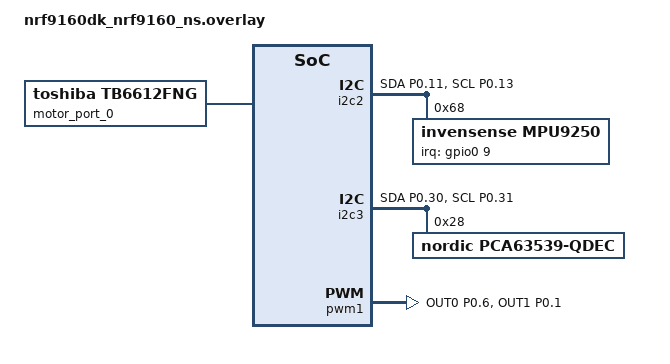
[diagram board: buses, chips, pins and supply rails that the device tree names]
/*
 * Copyright (c) 2022 Nordic Semiconductor ASA
 *
 * SPDX-License-Identifier: Apache-2.0
 */
 &spi3 {
	status = "disabled";
 };

 &button0 {
 	status = "disabled";
	};

 &button1 {
	status = "disabled";
 };

 &button2 {
	status = "disabled";
 };

 &button3 {
	status="disabled";
 };
 
 
&i2c2 {
	status = "okay";
	compatible = "nordic,nrf-twim";
	pinctrl-0 = <&i2c2_default_alt>;
	pinctrl-1 = <&i2c2_sleep_alt>;
	zephyr,concat-buf-size = <20>;
	mpu9250: mpu9250@68 {
		compatible = "invensense,mpu9250";
		reg = <0x68>;
		label = "MPU9250";
		gyro-sr-div = <0>;
		// TODO: tune dlpfs
		gyro-dlpf = <10>;
		gyro-fs = <1000>;
		accel-fs = <8>;
		accel-dlpf = "21.2";
		irq-gpios = <&gpio0 9 GPIO_ACTIVE_HIGH>;
	};
};

&i2c3 {
	compatible = "nordic,nrf-twim";
	status = "okay";
	pinctrl-0 = <&i2c3_default_alt>;
	pinctrl-1 = <&i2c3_sleep_alt>;
	pinctrl-names = "default", "sleep";
	shield_qdec: pca63539-qdec@28 {
		compatible = "nordic,pca63539-qdec";
		label = "PCA63539-QDEC";
		reg = <0x28>;
	};
};

&pwm1 {
	status = "okay";
	pinctrl-0 = <&pwm1_default_alt>;
	pinctrl-1 = <&pwm1_sleep_alt>;
	pinctrl-names = "default", "sleep";
};

/ {
	aliases {
		accelerometer = &mpu9250;
		gyroscope = &mpu9250;
		magnetometer = &mpu9250;
		motora = &motor_0_a;
		motorb = &motor_0_b;
	};
	motor_port0: motor_port0{
		compatible = "toshiba,tb6612fng";
		status = "okay";
		label = "motor_port_0";

		motor_0_a: motor_a {
			compatible = "toshiba,tb6612fng-motor";
			status = "okay";
			label = "motorA";
			pwms = <&pwm1 0 PWM_MSEC(20) PWM_POLARITY_NORMAL>;
			input1-gpios = <&gpio0 4 0>;
			input2-gpios = <&gpio0 5 0>;
		};

		motor_0_b: motor_b {
			compatible = "toshiba,tb6612fng-motor";
			status = "okay";
			label = "motorB";
			pwms = <&pwm1 1 PWM_MSEC(20) PWM_POLARITY_NORMAL>;
			input1-gpios = <&gpio0 3 0>;
			input2-gpios = <&gpio0 2 0>;
		};
	};
};


&pinctrl {
	i2c2_default_alt: i2c2_default_alt {
		group1 {
			psels = <NRF_PSEL(TWIM_SDA, 0, 11)>,
					<NRF_PSEL(TWIM_SCL, 0, 13)>;
					bias-pull-up;
		};
	};
	i2c2_sleep_alt: i2c2_sleep_alt {
		group1 {
			psels = <NRF_PSEL(TWIM_SDA, 0, 11)>,
					<NRF_PSEL(TWIM_SCL, 0, 13)>;
					bias-pull-up;
		};
	};

	i2c3_default_alt: i2c3_default_alt {
		group1 {
			psels = <NRF_PSEL(TWIM_SDA, 0, 30)>,
					<NRF_PSEL(TWIM_SCL, 0, 31)>;
					bias-pull-up;
		};
	};

	i2c3_sleep_alt: i2c3_sleep_alt {
		group1 {
			psels = <NRF_PSEL(TWIM_SDA, 0, 30)>,
					<NRF_PSEL(TWIM_SCL, 0, 31)>;
					bias-pull-up;
		};
	};
	
	pwm1_default_alt: pwm1_default_alt {
		group1 {
			psels = <NRF_PSEL(PWM_OUT0, 0, 6)>,
					<NRF_PSEL(PWM_OUT1, 0, 1)>;
		};
	};
	pwm1_sleep_alt: pwm1_sleep_alt {
		group1 {
			psels = <NRF_PSEL(PWM_OUT0, 0, 6)>,
					<NRF_PSEL(PWM_OUT1, 0, 1)>;
			low-power-enable;
		};
	};
};
